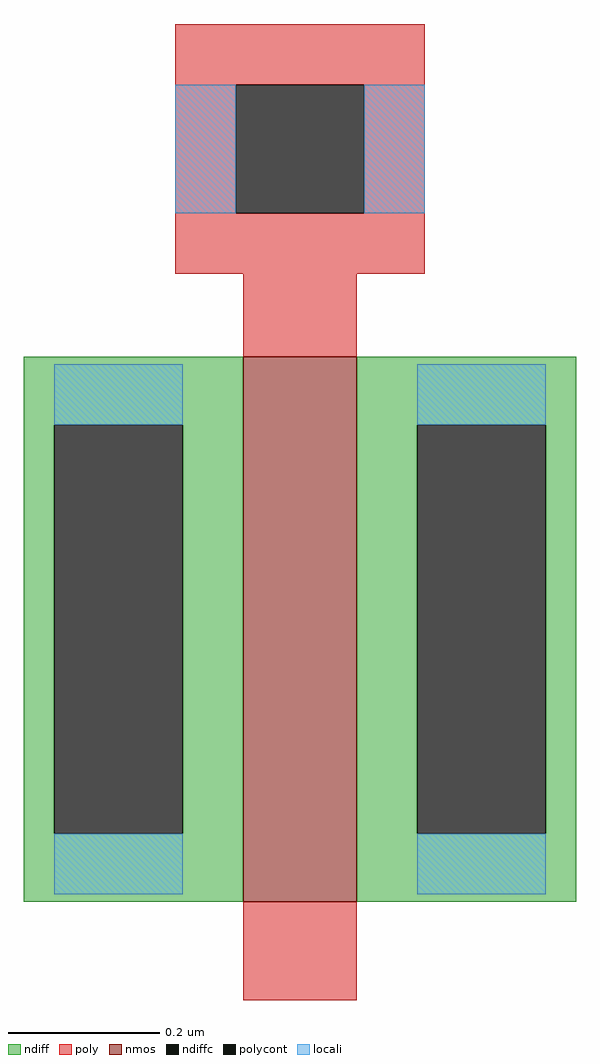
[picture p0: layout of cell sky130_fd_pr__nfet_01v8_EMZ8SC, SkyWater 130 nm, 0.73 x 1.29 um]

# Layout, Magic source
magic
tech sky130A
magscale 1 2
<< nmos >>
rect -15 -103 15 41
<< ndiff >>
rect -73 23 -15 41
rect -73 -85 -65 23
rect -31 -85 -15 23
rect -73 -103 -15 -85
rect 15 23 73 41
rect 15 -85 31 23
rect 65 -85 73 23
rect 15 -103 73 -85
<< ndiffc >>
rect -65 -85 -31 23
rect 31 -85 65 23
<< poly >>
rect -33 113 33 129
rect -33 79 -17 113
rect 17 79 33 113
rect -33 63 33 79
rect -15 41 15 63
rect -15 -129 15 -103
<< polycont >>
rect -17 79 17 113
<< locali >>
rect -33 79 -17 113
rect 17 79 33 113
rect -65 23 -31 39
rect -65 -101 -31 -85
rect 31 23 65 39
rect 31 -101 65 -85
<< properties >>
string gencell sky130_fd_pr__nfet_01v8
string library sky130
string parameters w 0.72 l 0.150 m 1 nf 1 diffcov 90 polycov 100 guard 0 glc 0 grc 0 gtc 1 gbc 1 tbcov 100 rlcov 100 topc 1 botc 0 poverlap 0 doverlap 1 lmin 0.15 wmin 0.42 compatible {sky130_fd_pr__nfet_01v8 sky130_fd_pr__nfet_01v8_lvt  sky130_fd_bs_flash__special_sonosfet_star  sky130_fd_pr__nfet_g5v0d10v5 sky130_fd_pr__nfet_05v0_nvt  sky130_fd_pr__nfet_03v3_nvt} full_metal 0 viasrc -40 viadrn 40 viagate 100 viagb 80 viagr 0 viagl 0 viagt 0
<< end >>
